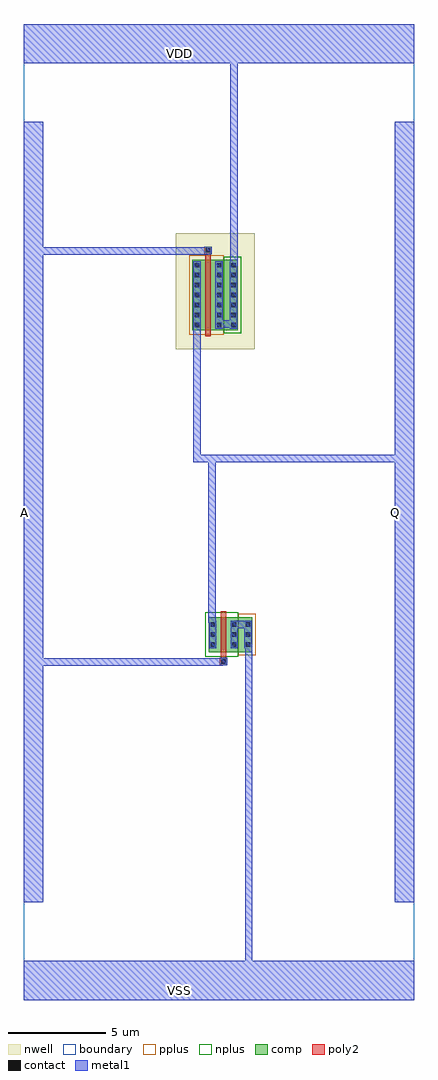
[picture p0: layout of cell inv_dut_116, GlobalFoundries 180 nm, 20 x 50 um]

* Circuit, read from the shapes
.subckt inv_dut_116 A Q VDD VSS
XM1 VSS A Q VSS nfet_03v3 w=1.8u l=0.3u
XM2 VDD A Q VDD pfet_03v3 w=3.6u l=0.3u
.ends

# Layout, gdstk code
import gdstk
lib = gdstk.Library(unit=1e-6, precision=1e-09)
def R(c, l, rs):  # rectangles x0, y0, x1, y1
    for r in rs: c.add(gdstk.rectangle(r[:2], r[2:], *l))
def A(c, l, x, y, w, h, nx, ny, dx, dy):  # array of equal rectangles
    R(c, l, [(x+i*dx, y+j*dy, x+i*dx+w, y+j*dy+h) for i in range(nx) for j in range(ny)])
def P(c, l, *ps):  # polygons
    for p in ps: c.add(gdstk.Polygon(p, *l))
boundary = (0, 0)
nwell = (21, 0)
comp = (22, 0)
poly2 = (30, 0)
pplus = (31, 0)
nplus = (32, 0)
contact = (33, 0)
metal1 = (34, 0)

pfet = lib.new_cell('pfet')
R(pfet, nwell, [(-1.32,-0.99,2.73,4.97)])
R(pfet, comp, [(-0.46,0,1.87,3.6)])
P(pfet, poly2, [(0.19,-0.3),(0.19,3.9),(0.15,3.9),(0.15,4.28),(0.53,4.28),(0.53,3.9),(0.49,3.9),(0.49,-0.3)])
R(pfet, pplus, [(-0.63,-0.24,1.14,3.84)])
R(pfet, nplus, [(1.14,-0.17,2.04,3.77)])
A(pfet, contact, -0.34, 0.16, 0.22, 0.22, 1, 7, 0, 0.51)
A(pfet, contact, 0.8, 0.16, 0.22, 0.22, 1, 7, 0, 0.51)
A(pfet, contact, 1.53, 0.16, 0.22, 0.22, 1, 7, 0, 0.51)
R(pfet, contact, [(0.23,3.98,0.45,4.2)])
R(pfet, metal1, [(-0.42,0.08,-0.04,3.52), (0.72,0.08,1.1,3.52), (1.45,0.08,1.83,3.52), (0.15,3.9,0.53,4.28)])

nfet = lib.new_cell('nfet')
R(nfet, comp, [(-0.42,0,1.81,1.8)])
P(nfet, poly2, [(0.16,-0.66),(0.16,-0.3),(0.19,-0.3),(0.19,2.1),(0.49,2.1),(0.49,-0.3),(0.52,-0.3),(0.52,-0.66)])
R(nfet, pplus, [(1.1,-0.17,1.98,1.97)])
R(nfet, nplus, [(-0.59,-0.24,1.1,2.04)])
A(nfet, contact, -0.32, 0.28, 0.22, 0.22, 1, 3, 0, 0.51)
A(nfet, contact, 0.78, 0.28, 0.22, 0.22, 1, 3, 0, 0.51)
A(nfet, contact, 1.49, 0.28, 0.22, 0.22, 1, 3, 0, 0.51)
R(nfet, contact, [(0.23,-0.59,0.45,-0.37)])
R(nfet, metal1, [(0.15,-0.67,0.53,-0.29), (-0.4,0.2,-0.02,1.6), (0.7,0.2,1.08,1.6), (1.41,0.2,1.79,1.6)])

inv_dut_116 = lib.new_cell('inv_dut_116')
R(inv_dut_116, boundary, [(-10,-25,10,25)])
R(inv_dut_116, metal1, [(-10,-25,10,-23), (-10,-20,-9,20), (9,-20,10,20), (-10,23,10,25)])
inv_dut_116.add(gdstk.FlexPath([(-0.55,13.365),(-9.46,13.365),(-9.46,13.38)], 0.38, ends="flush", simple_path=True, layer=34, datatype=0))  # metal1
inv_dut_116.add(gdstk.FlexPath([(-0.09,9.635),(0.785,9.635)], 0.38, ends="flush", simple_path=True, layer=34, datatype=0))  # metal1
inv_dut_116.add(gdstk.FlexPath([(0.765,12.615),(0.765,23.51)], 0.38, ends="flush", simple_path=True, layer=34, datatype=0))  # metal1
inv_dut_116.add(gdstk.FlexPath([(-1.13,9.67),(-1.13,2.74),(9.22,2.74)], 0.38, ends="flush", simple_path=True, layer=34, datatype=0))  # metal1
inv_dut_116.add(gdstk.FlexPath([(0.76,-5.77),(1.48,-5.77)], 0.38, ends="flush", simple_path=True, layer=34, datatype=0))  # metal1
inv_dut_116.add(gdstk.FlexPath([(-0.355,-5.68),(-0.355,2.675)], 0.38, ends="flush", simple_path=True, layer=34, datatype=0))  # metal1
inv_dut_116.add(gdstk.FlexPath([(1.525,-6.77),(1.525,-23.26)], 0.38, ends="flush", simple_path=True, layer=34, datatype=0))  # metal1
inv_dut_116.add(gdstk.FlexPath([(0.195,-7.695),(-9.14,-7.695)], 0.38, ends="flush", simple_path=True, layer=34, datatype=0))  # metal1
inv_dut_116.add(gdstk.Reference(pfet, (-0.9,9.315)))
inv_dut_116.add(gdstk.Reference(nfet, (-0.11,-7.18)))
inv_dut_116.add(gdstk.Label('VDD', (-2,23.5), layer=34, texttype=10))
inv_dut_116.add(gdstk.Label('VSS', (-2,-24.5), layer=34, texttype=10))
inv_dut_116.add(gdstk.Label('A', (-9.97,0), layer=34, texttype=10))
inv_dut_116.add(gdstk.Label('Q', (9.03,0), layer=34, texttype=10))

lib.write_gds('inv_dut_116.gds')
